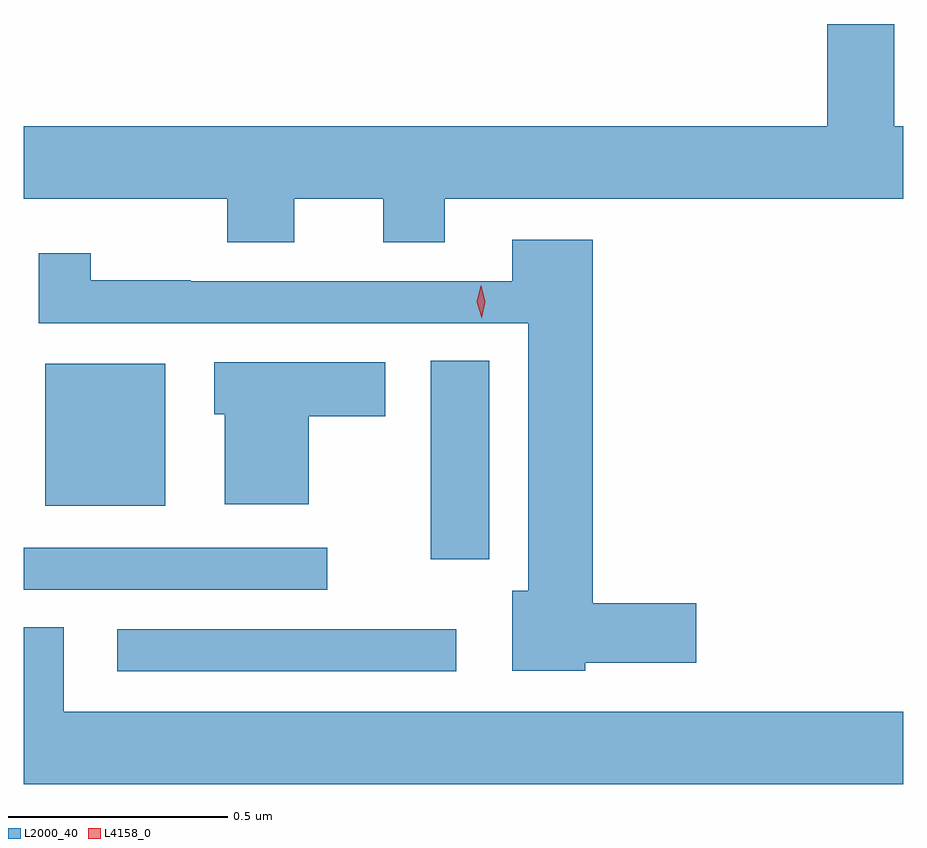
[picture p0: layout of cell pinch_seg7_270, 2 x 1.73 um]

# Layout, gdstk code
import gdstk
lib = gdstk.Library(unit=1e-6, precision=1e-09)
def R(c, l, rs):  # rectangles x0, y0, x1, y1
    for r in rs: c.add(gdstk.rectangle(r[:2], r[2:], *l))
def P(c, l, *ps):  # polygons
    for p in ps: c.add(gdstk.Polygon(p, *l))
L2000_40 = (2000, 40)
L4158_0 = (4158, 0)

pinch_seg7_270 = lib.new_cell('pinch_seg7_270')
R(pinch_seg7_270, L2000_40, [(809.991,1054.152,810.763,1054.248), (809.779,1054.338,810.469,1054.434), (810.704,1054.407,810.838,1054.859), (809.828,1054.529,810.1,1054.852)])
P(pinch_seg7_270, L2000_40, [(810.394,1055.228),(810.596,1055.228),(810.596,1055.129),(810.736,1055.129),(810.736,1055.228),(811.779,1055.228),(811.779,1055.392),(811.759,1055.392),(811.759,1055.625),(811.607,1055.625),(811.607,1055.392),(809.779,1055.392),(809.779,1055.228),(810.242,1055.228),(810.242,1055.129),(810.394,1055.129)],
  [(811.056,1054.172),(811.309,1054.172),(811.309,1054.307),(811.073,1054.307),(811.073,1055.134),(810.89,1055.134),(810.89,1055.04),(810.158,1055.04),(810.158,1055.042),(809.931,1055.042),(809.931,1055.104),(809.813,1055.104),(809.813,1054.944),(810.926,1054.944),(810.926,1054.336),(810.89,1054.336),(810.89,1054.154),(811.056,1054.154)],
  [(810.427,1054.733),(810.601,1054.733),(810.601,1054.855),(810.212,1054.855),(810.212,1054.737),(810.236,1054.737),(810.236,1054.532),(810.427,1054.532)],
  [(811.779,1054.06),(809.869,1054.06),(809.869,1054.253),(809.779,1054.253),(809.779,1053.896),(811.779,1053.896)])
P(pinch_seg7_270, L4158_0, [(810.82,1054.956),(810.82,1054.957),(810.809,1054.993),(810.818,1055.029),(810.818,1055.029),(810.819,1055.029),(810.829,1054.993),(810.82,1054.957)])

lib.write_gds('pinch_seg7_270.gds')
